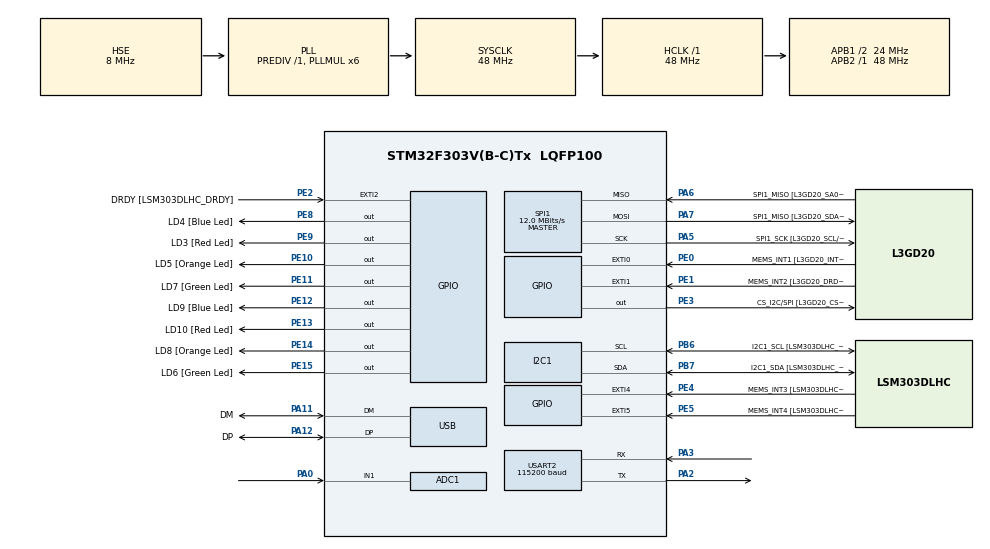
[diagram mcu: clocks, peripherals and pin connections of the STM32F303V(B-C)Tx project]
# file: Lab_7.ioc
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ADC1.Channel-0\#ChannelRegularConversion=ADC_CHANNEL_1
ADC1.NbrOfConversionFlag=1
ADC1.Offset-0\#ChannelRegularConversion=0
ADC1.OffsetNumber-0\#ChannelRegularConversion=ADC_OFFSET_NONE
ADC1.Rank-0\#ChannelRegularConversion=1
ADC1.SamplingTime-0\#ChannelRegularConversion=ADC_SAMPLETIME_1CYCLE_5
ADC1.SamplingTimeOPAMP-0\#ChannelRegularConversion=ADC_SAMPLETIME_19CYCLES_5
ADC1.master=1
I2C1.Timing=0x2000090E
I2C1.Timing-I2C=0x2000090E
Mcu.Family=STM32F3
Mcu.Name=STM32F303V(B-C)Tx
Mcu.Package=LQFP100
NVIC.ADC1_2_IRQn=true\:0\:0\:false\:false\:true\:true\:true\:true
NVIC.PriorityGroup=NVIC_PRIORITYGROUP_0
NVIC.USART2_IRQn=true\:0\:0\:false\:false\:true\:true\:true\:true
PA0.Mode=IN1-Single-Ended
PA0.Signal=ADC1_IN1
PA11.GPIO_Label=DM
PA11.Mode=Device
PA11.Signal=USB_DM
PA12.GPIO_Label=DP
PA12.Mode=Device
PA12.Signal=USB_DP
PA13.GPIO_Label=SWDIO
PA13.Mode=Serial_Wire
PA13.Signal=SYS_JTMS-SWDIO
PA14.GPIO_Label=SWCLK
PA14.Mode=Serial_Wire
PA14.Signal=SYS_JTCK-SWCLK
PA2.Mode=Asynchronous
PA2.Signal=USART2_TX
PA3.Mode=Asynchronous
PA3.Signal=USART2_RX
PA5.GPIO_Label=SPI1_SCK [L3GD20_SCL/SPC]
PA5.Mode=Full_Duplex_Master
PA5.Signal=SPI1_SCK
PA6.GPIO_Label=SPI1_MISO [L3GD20_SA0/SDO]
PA6.Mode=Full_Duplex_Master
PA6.Signal=SPI1_MISO
PA7.GPIO_Label=SPI1_MISO [L3GD20_SDA/SDI/SDO]
PA7.Mode=Full_Duplex_Master
PA7.Signal=SPI1_MOSI
PB3.GPIO_Label=SWO
PB3.Signal=SYS_JTDO-TRACESWO
PB6.GPIO_Label=I2C1_SCL [LSM303DLHC_SCL]
PB6.GPIO_Pu=GPIO_PULLUP
PB6.Mode=I2C
PB6.Signal=I2C1_SCL
PB7.GPIO_Label=I2C1_SDA [LSM303DLHC_SDA]
PB7.GPIO_Pu=GPIO_PULLUP
PB7.Mode=I2C
PB7.Signal=I2C1_SDA
PC14-OSC32_IN.GPIO_Label=OSC32_IN
PC14-OSC32_IN.Signal=RCC_OSC32_IN
PC15-OSC32_OUT.GPIO_Label=OSC32_OUT
PC15-OSC32_OUT.Signal=RCC_OSC32_OUT
PE0.GPIO_Label=MEMS_INT1 [L3GD20_INT1]
PE0.GPIO_ModeDefaultEXTI=GPIO_MODE_EVT_RISING
PE0.Signal=GPXTI0
PE1.GPIO_Label=MEMS_INT2 [L3GD20_DRDY/INT2]
PE1.GPIO_ModeDefaultEXTI=GPIO_MODE_EVT_RISING
PE1.Signal=GPXTI1
PE10.GPIO_Label=LD5 [Orange Led]
PE10.Signal=GPIO_Output
PE11.GPIO_Label=LD7 [Green Led]
PE11.Signal=GPIO_Output
PE12.GPIO_Label=LD9 [Blue Led]
PE12.Signal=GPIO_Output
PE13.GPIO_Label=LD10 [Red Led]
PE13.Signal=GPIO_Output
PE14.GPIO_Label=LD8 [Orange Led]
PE14.Signal=GPIO_Output
PE15.GPIO_Label=LD6 [Green Led]
PE15.Signal=GPIO_Output
PE2.GPIO_Label=DRDY [LSM303DLHC_DRDY]
PE2.GPIO_ModeDefaultEXTI=GPIO_MODE_EVT_RISING
PE2.Signal=GPXTI2
PE3.GPIO_Label=CS_I2C/SPI [L3GD20_CS_I2C/SPI]
PE3.Signal=GPIO_Output
PE4.GPIO_Label=MEMS_INT3 [LSM303DLHC_INT1]
PE4.GPIO_ModeDefaultEXTI=GPIO_MODE_EVT_RISING
PE4.Signal=GPXTI4
PE5.GPIO_Label=MEMS_INT4 [LSM303DLHC_INT2]
PE5.GPIO_ModeDefaultEXTI=GPIO_MODE_EVT_RISING
PE5.Signal=GPXTI5
PE8.GPIO_Label=LD4 [Blue Led]
PE8.Signal=GPIO_Output
PE9.GPIO_Label=LD3 [Red Led]
PE9.Signal=GPIO_Output
PF0-OSC_IN.GPIO_Label=OSC_IN
PF0-OSC_IN.Mode=HSE-External-Clock-Source
PF0-OSC_IN.Signal=RCC_OSC_IN
PF1-OSC_OUT.GPIO_Label=OSC_OUT
PF1-OSC_OUT.Signal=RCC_OSC_OUT
ProjectManager.HeapSize=0x200
ProjectManager.StackSize=0x400
ProjectManager.TargetToolchain=CMake
RCC.AHBFreq_Value=48000000
RCC.APB1CLKDivider=RCC_HCLK_DIV2
RCC.APB1Freq_Value=24000000
RCC.APB1TimFreq_Value=48000000
RCC.APB2Freq_Value=48000000
RCC.APB2TimFreq_Value=48000000
RCC.CortexFreq_Value=48000000
RCC.HCLKFreq_Value=48000000
RCC.HSE_VALUE=8000000
RCC.HSI_VALUE=8000000
RCC.LSE_VALUE=32768
RCC.PLLMUL=RCC_PLL_MUL6
RCC.SYSCLKFreq_VALUE=48000000
RCC.SYSCLKSourceVirtual=RCC_SYSCLKSOURCE_PLLCLK
RCC.USBFreq_Value=48000000
SPI1.BaudRatePrescaler=SPI_BAUDRATEPRESCALER_4
SPI1.BaudRatePrescaler-Full_Duplex_Master=SPI_BAUDRATEPRESCALER_2
SPI1.CalculateBaudRate=12.0 MBits/s
SPI1.CalculateBaudRate-Full_Duplex_Master=24.0 MBits/s
SPI1.Direction=SPI_DIRECTION_2LINES
SPI1.Mode=SPI_MODE_MASTER
SPI1.Mode-Full_Duplex_Master=SPI_MODE_MASTER
SPI1.VirtualType=VM_MASTER
USART2.BaudRate=115200
USART2.VirtualMode-Asynchronous=VM_ASYNC
board=STM32F3DISCOVERY

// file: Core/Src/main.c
/* USER CODE BEGIN Header */
/**
 * ******************************************************************************
 * @file          : main.c
 * @brief         : Main program body
 * ******************************************************************************
 * @attention
 *
 * Copyright (c) 2026 STMicroelectronics.
 * All rights reserved.
 *
 * This software is licensed under terms that can be found in the LICENSE file
 * in the root directory of this software component.
 * If no LICENSE file comes with this software, it is provided AS-IS.
 *
 * ******************************************************************************
 */
/* USER CODE END Header */
#include "main.h"

/* USER CODE BEGIN Includes */
#include <stdio.h>
/* USER CODE END Includes */

ADC_HandleTypeDef hadc1;

I2C_HandleTypeDef hi2c1;

SPI_HandleTypeDef hspi1;

UART_HandleTypeDef huart2;

PCD_HandleTypeDef hpcd_USB_FS;

/* USER CODE BEGIN PV */
uint32_t raw_value = 0;
uint32_t voltage_mv = 0;
/* USER CODE END PV */

void SystemClock_Config(void);
static void MX_GPIO_Init(void);
static void MX_ADC1_Init(void);
static void MX_I2C1_Init(void);
static void MX_SPI1_Init(void);
static void MX_USART2_UART_Init(void);
static void MX_USB_PCD_Init(void);

/* USER CODE BEGIN 0 */
int _write(int file, char *ptr, int len) {
    HAL_UART_Transmit(&huart2, (uint8_t *)ptr, len, HAL_MAX_DELAY);
    return len;
}

// ADC Conversion Complete Interrupt Callback
void HAL_ADC_ConvCpltCallback(ADC_HandleTypeDef* hadc)
{
    if (hadc->Instance == ADC1)
    {
        // 1. Get the 12-bit raw value
        raw_value = HAL_ADC_GetValue(&hadc1);

        // 2. Convert raw value to millivolts
        voltage_mv = (raw_value * 3300) / 4095;

        // 3. Print values via UART
        printf("Levels: %lu | Voltage: %lu mV\r\n", raw_value, voltage_mv);
    }
}
/* USER CODE END 0 */

int main(void)
{

  /* MCU Configuration--------------------------------------------------------*/

  /* Reset of all peripherals, Initializes the Flash interface and the Systick. */
  HAL_Init();

  /* Configure the system clock */
  SystemClock_Config();

  /* Initialize all configured peripherals */
  MX_GPIO_Init();
  MX_ADC1_Init();
  MX_I2C1_Init();
  MX_SPI1_Init();
  MX_USART2_UART_Init();
  MX_USB_PCD_Init();
  /* USER CODE BEGIN 2 */
  printf("System Initialized via USART2. Starting ADC Interrupt Mode...\r\n");

  // Start ADC conversion in Interrupt mode
  HAL_ADC_Start_IT(&hadc1);
  /* USER CODE END 2 */

  /* Infinite loop */
  while (1)
  {

    /* USER CODE BEGIN 3 */

    // polling start
    /*
    char msg[64];

    // 1. Start ADC conversion
    HAL_ADC_Start(&hadc1);

    // 2. Poll for conversion with a timeout of 100 ms
    if (HAL_ADC_PollForConversion(&hadc1, 100) == HAL_OK)
    {
      // 3. Get the 12-bit raw value (0 to 4095)
      raw_value = HAL_ADC_GetValue(&hadc1);

      // 4. Convert raw value to millivolts (0 to 3300 mV)[cite: 172]
      voltage_mv = (raw_value * 3300) / 4095;

      // 5. Format string manually
      int len = sprintf(msg, "Levels: %lu | Voltage: %lu mV\r\n", raw_value, voltage_mv);

      // 6. Transmit directly over USART2 (No buffering delay!)
      HAL_UART_Transmit(&huart2, (uint8_t*)msg, len, HAL_MAX_DELAY);
    }

    // 7. Stop ADC conversion
    HAL_ADC_Stop(&hadc1);

    // 8. Delay between readings
    HAL_Delay(100);
    */
    // polling end

    HAL_Delay(500);

    HAL_ADC_Start_IT(&hadc1);
  }
  /* USER CODE END 3 */
}

void SystemClock_Config(void)
{
  RCC_OscInitTypeDef RCC_OscInitStruct = {0};
  RCC_ClkInitTypeDef RCC_ClkInitStruct = {0};
  RCC_PeriphCLKInitTypeDef PeriphClkInit = {0};

  /** Initializes the RCC Oscillators according to the specified parameters
  * in the RCC_OscInitTypeDef structure.
  */
  RCC_OscInitStruct.OscillatorType = RCC_OSCILLATORTYPE_HSI|RCC_OSCILLATORTYPE_HSE;
  RCC_OscInitStruct.HSEState = RCC_HSE_BYPASS;
  RCC_OscInitStruct.HSEPredivValue = RCC_HSE_PREDIV_DIV1;
  RCC_OscInitStruct.HSIState = RCC_HSI_ON;
  RCC_OscInitStruct.HSICalibrationValue = RCC_HSICALIBRATION_DEFAULT;
  RCC_OscInitStruct.PLL.PLLState = RCC_PLL_ON;
  RCC_OscInitStruct.PLL.PLLSource = RCC_PLLSOURCE_HSE;
  RCC_OscInitStruct.PLL.PLLMUL = RCC_PLL_MUL6;
  if (HAL_RCC_OscConfig(&RCC_OscInitStruct) != HAL_OK)
  {
    Error_Handler();
  }

  /** Initializes the CPU, AHB and APB buses clocks
  */
  RCC_ClkInitStruct.ClockType = RCC_CLOCKTYPE_HCLK|RCC_CLOCKTYPE_SYSCLK
                              |RCC_CLOCKTYPE_PCLK1|RCC_CLOCKTYPE_PCLK2;
  RCC_ClkInitStruct.SYSCLKSource = RCC_SYSCLKSOURCE_PLLCLK;
  RCC_ClkInitStruct.AHBCLKDivider = RCC_SYSCLK_DIV1;
  RCC_ClkInitStruct.APB1CLKDivider = RCC_HCLK_DIV2;
  RCC_ClkInitStruct.APB2CLKDivider = RCC_HCLK_DIV1;

  if (HAL_RCC_ClockConfig(&RCC_ClkInitStruct, FLASH_LATENCY_1) != HAL_OK)
  {
    Error_Handler();
  }
  PeriphClkInit.PeriphClockSelection = RCC_PERIPHCLK_USB|RCC_PERIPHCLK_USART2
                              |RCC_PERIPHCLK_I2C1|RCC_PERIPHCLK_ADC12;
  PeriphClkInit.Usart2ClockSelection = RCC_USART2CLKSOURCE_PCLK1;
  PeriphClkInit.Adc12ClockSelection = RCC_ADC12PLLCLK_DIV1;
  PeriphClkInit.I2c1ClockSelection = RCC_I2C1CLKSOURCE_HSI;
  PeriphClkInit.USBClockSelection = RCC_USBCLKSOURCE_PLL;
  if (HAL_RCCEx_PeriphCLKConfig(&PeriphClkInit) != HAL_OK)
  {
    Error_Handler();
  }
}

static void MX_ADC1_Init(void)
{

  ADC_MultiModeTypeDef multimode = {0};
  ADC_ChannelConfTypeDef sConfig = {0};

  /** Common config
  */
  hadc1.Instance = ADC1;
  hadc1.Init.ClockPrescaler = ADC_CLOCK_ASYNC_DIV1;
  hadc1.Init.Resolution = ADC_RESOLUTION_12B;
  hadc1.Init.ScanConvMode = ADC_SCAN_DISABLE;
  hadc1.Init.ContinuousConvMode = DISABLE;
  hadc1.Init.DiscontinuousConvMode = DISABLE;
  hadc1.Init.ExternalTrigConvEdge = ADC_EXTERNALTRIGCONVEDGE_NONE;
  hadc1.Init.ExternalTrigConv = ADC_SOFTWARE_START;
  hadc1.Init.DataAlign = ADC_DATAALIGN_RIGHT;
  hadc1.Init.NbrOfConversion = 1;
  hadc1.Init.DMAContinuousRequests = DISABLE;
  hadc1.Init.EOCSelection = ADC_EOC_SINGLE_CONV;
  hadc1.Init.LowPowerAutoWait = DISABLE;
  hadc1.Init.Overrun = ADC_OVR_DATA_OVERWRITTEN;
  if (HAL_ADC_Init(&hadc1) != HAL_OK)
  {
    Error_Handler();
  }

  /** Configure the ADC multi-mode
  */
  multimode.Mode = ADC_MODE_INDEPENDENT;
  if (HAL_ADCEx_MultiModeConfigChannel(&hadc1, &multimode) != HAL_OK)
  {
    Error_Handler();
  }

  /** Configure Regular Channel
  */
  sConfig.Channel = ADC_CHANNEL_1;
  sConfig.Rank = ADC_REGULAR_RANK_1;
  sConfig.SingleDiff = ADC_SINGLE_ENDED;
  sConfig.SamplingTime = ADC_SAMPLETIME_1CYCLE_5;
  sConfig.OffsetNumber = ADC_OFFSET_NONE;
  sConfig.Offset = 0;
  if (HAL_ADC_ConfigChannel(&hadc1, &sConfig) != HAL_OK)
  {
    Error_Handler();
  }

}

static void MX_I2C1_Init(void)
{

  hi2c1.Instance = I2C1;
  hi2c1.Init.Timing = 0x2000090E;
  hi2c1.Init.OwnAddress1 = 0;
  hi2c1.Init.AddressingMode = I2C_ADDRESSINGMODE_7BIT;
  hi2c1.Init.DualAddressMode = I2C_DUALADDRESS_DISABLE;
  hi2c1.Init.OwnAddress2 = 0;
  hi2c1.Init.OwnAddress2Masks = I2C_OA2_NOMASK;
  hi2c1.Init.GeneralCallMode = I2C_GENERALCALL_DISABLE;
  hi2c1.Init.NoStretchMode = I2C_NOSTRETCH_DISABLE;
  if (HAL_I2C_Init(&hi2c1) != HAL_OK)
  {
    Error_Handler();
  }

  /** Configure Analogue filter
  */
  if (HAL_I2CEx_ConfigAnalogFilter(&hi2c1, I2C_ANALOGFILTER_ENABLE) != HAL_OK)
  {
    Error_Handler();
  }

  /** Configure Digital filter
  */
  if (HAL_I2CEx_ConfigDigitalFilter(&hi2c1, 0) != HAL_OK)
  {
    Error_Handler();
  }

}

static void MX_SPI1_Init(void)
{

  /* SPI1 parameter configuration*/
  hspi1.Instance = SPI1;
  hspi1.Init.Mode = SPI_MODE_MASTER;
  hspi1.Init.Direction = SPI_DIRECTION_2LINES;
  hspi1.Init.DataSize = SPI_DATASIZE_4BIT;
  hspi1.Init.CLKPolarity = SPI_POLARITY_LOW;
  hspi1.Init.CLKPhase = SPI_PHASE_1EDGE;
  hspi1.Init.NSS = SPI_NSS_SOFT;
  hspi1.Init.BaudRatePrescaler = SPI_BAUDRATEPRESCALER_4;
  hspi1.Init.FirstBit = SPI_FIRSTBIT_MSB;
  hspi1.Init.TIMode = SPI_TIMODE_DISABLE;
  hspi1.Init.CRCCalculation = SPI_CRCCALCULATION_DISABLE;
  hspi1.Init.CRCPolynomial = 7;
  hspi1.Init.CRCLength = SPI_CRC_LENGTH_DATASIZE;
  hspi1.Init.NSSPMode = SPI_NSS_PULSE_ENABLE;
  if (HAL_SPI_Init(&hspi1) != HAL_OK)
  {
    Error_Handler();
  }

}

static void MX_USART2_UART_Init(void)
{

  huart2.Instance = USART2;
  huart2.Init.BaudRate = 115200;
  huart2.Init.WordLength = UART_WORDLENGTH_8B;
  huart2.Init.StopBits = UART_STOPBITS_1;
  huart2.Init.Parity = UART_PARITY_NONE;
  huart2.Init.Mode = UART_MODE_TX_RX;
  huart2.Init.HwFlowCtl = UART_HWCONTROL_NONE;
  huart2.Init.OverSampling = UART_OVERSAMPLING_16;
  huart2.Init.OneBitSampling = UART_ONE_BIT_SAMPLE_DISABLE;
  huart2.AdvancedInit.AdvFeatureInit = UART_ADVFEATURE_NO_INIT;
  if (HAL_UART_Init(&huart2) != HAL_OK)
  {
    Error_Handler();
  }

}

static void MX_USB_PCD_Init(void)
{

  hpcd_USB_FS.Instance = USB;
  hpcd_USB_FS.Init.dev_endpoints = 8;
  hpcd_USB_FS.Init.speed = PCD_SPEED_FULL;
  hpcd_USB_FS.Init.phy_itface = PCD_PHY_EMBEDDED;
  hpcd_USB_FS.Init.low_power_enable = DISABLE;
  hpcd_USB_FS.Init.battery_charging_enable = DISABLE;
  if (HAL_PCD_Init(&hpcd_USB_FS) != HAL_OK)
  {
    Error_Handler();
  }

}

static void MX_GPIO_Init(void)
{
  GPIO_InitTypeDef GPIO_InitStruct = {0};

  /* GPIO Ports Clock Enable */
  __HAL_RCC_GPIOE_CLK_ENABLE();
  __HAL_RCC_GPIOC_CLK_ENABLE();
  __HAL_RCC_GPIOF_CLK_ENABLE();
  __HAL_RCC_GPIOA_CLK_ENABLE();
  __HAL_RCC_GPIOB_CLK_ENABLE();

  /*Configure GPIO pin Output Level */
  HAL_GPIO_WritePin(GPIOE, CS_I2C_SPI_Pin|LD4_Pin|LD3_Pin|LD5_Pin
                          |LD7_Pin|LD9_Pin|LD10_Pin|LD8_Pin
                          |LD6_Pin, GPIO_PIN_RESET);

  /*Configure GPIO pins : DRDY_Pin MEMS_INT3_Pin MEMS_INT4_Pin MEMS_INT1_Pin
                           MEMS_INT2_Pin */
  GPIO_InitStruct.Pin = DRDY_Pin|MEMS_INT3_Pin|MEMS_INT4_Pin|MEMS_INT1_Pin
                          |MEMS_INT2_Pin;
  GPIO_InitStruct.Mode = GPIO_MODE_EVT_RISING;
  GPIO_InitStruct.Pull = GPIO_NOPULL;
  HAL_GPIO_Init(GPIOE, &GPIO_InitStruct);

  /*Configure GPIO pins : CS_I2C_SPI_Pin LD4_Pin LD3_Pin LD5_Pin
                           LD7_Pin LD9_Pin LD10_Pin LD8_Pin
                           LD6_Pin */
  GPIO_InitStruct.Pin = CS_I2C_SPI_Pin|LD4_Pin|LD3_Pin|LD5_Pin
                          |LD7_Pin|LD9_Pin|LD10_Pin|LD8_Pin
                          |LD6_Pin;
  GPIO_InitStruct.Mode = GPIO_MODE_OUTPUT_PP;
  GPIO_InitStruct.Pull = GPIO_NOPULL;
  GPIO_InitStruct.Speed = GPIO_SPEED_FREQ_LOW;
  HAL_GPIO_Init(GPIOE, &GPIO_InitStruct);

}

void Error_Handler(void)
{
  __disable_irq();
  while (1)
  {
  }
}
